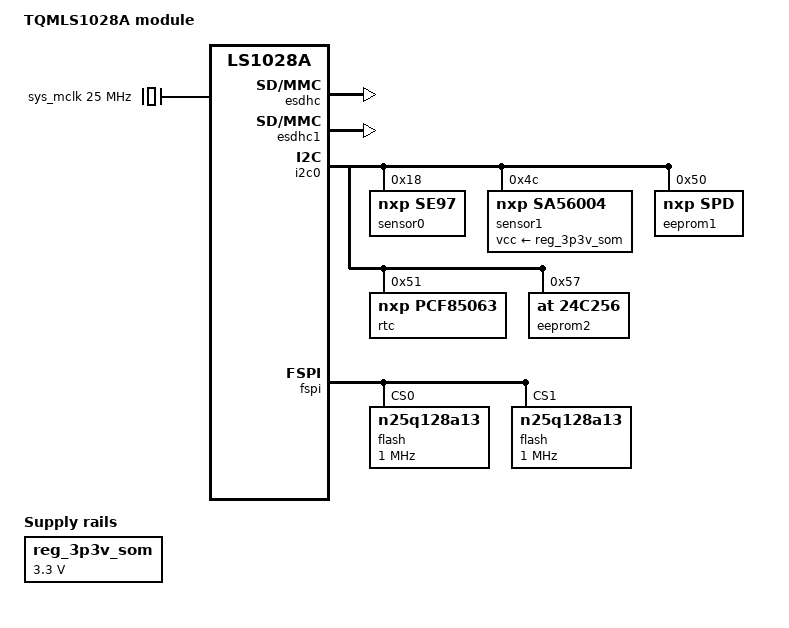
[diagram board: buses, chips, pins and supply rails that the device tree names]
/*
 * Device Tree Include file for NXP Layerscape-1028A family SoC.
 *
 * Copyright 2018-2019 NXP
 *
 * Harninder Rai <harninder.rai@nxp.com>
 *
 * This file is dual-licensed: you can use it either under the terms
 * of the GPLv2 or the X11 license, at your option. Note that this dual
 * licensing only applies to this file, and not this project as a
 * whole.
 *
 *  a) This library is free software; you can redistribute it and/or
 *     modify it under the terms of the GNU General Public License as
 *     published by the Free Software Foundation; either version 2 of the
 *     License, or (at your option) any later version.
 *
 *     This library is distributed in the hope that it will be useful,
 *     but WITHOUT ANY WARRANTY; without even the implied warranty of
 *     MERCHANTABILITY or FITNESS FOR A PARTICULAR PURPOSE.  See the
 *     GNU General Public License for more details.
 *
 * Or, alternatively,
 *
 *  b) Permission is hereby granted, free of charge, to any person
 *     obtaining a copy of this software and associated documentation
 *     files (the "Software"), to deal in the Software without
 *     restriction, including without limitation the rights to use,
 *     copy, modify, merge, publish, distribute, sublicense, and/or
 *     sell copies of the Software, and to permit persons to whom the
 *     Software is furnished to do so, subject to the following
 *     conditions:
 *
 *     The above copyright notice and this permission notice shall be
 *     included in all copies or substantial portions of the Software.
 *
 *     THE SOFTWARE IS PROVIDED "AS IS", WITHOUT WARRANTY OF ANY KIND,
 *     EXPRESS OR IMPLIED, INCLUDING BUT NOT LIMITED TO THE WARRANTIES
 *     OF MERCHANTABILITY, FITNESS FOR A PARTICULAR PURPOSE AND
 *     NONINFRINGEMENT. IN NO EVENT SHALL THE AUTHORS OR COPYRIGHT
 *     HOLDERS BE LIABLE FOR ANY CLAIM, DAMAGES OR OTHER LIABILITY,
 *     WHETHER IN AN ACTION OF CONTRACT, TORT OR OTHERWISE, ARISING
 *     FROM, OUT OF OR IN CONNECTION WITH THE SOFTWARE OR THE USE OR
 *     OTHER DEALINGS IN THE SOFTWARE.
 */

#include "../freescale/fsl-ls1028a.dtsi"

/ {
	model = "TQMLS1028A module";
	compatible = "tq,tqmls1028a", "fsl,ls1028a";

	regulators {
		compatible = "simple-bus";
		#address-cells = <1>;
		#size-cells = <0>;

		reg_3p3v_som: regulator@0 {
			compatible = "regulator-fixed";
			reg = <0>;
			regulator-name = "3P3V_SOM";
			regulator-min-microvolt = <3300000>;
			regulator-max-microvolt = <3300000>;
			regulator-always-on;
		};
	};

	sys_mclk: clock-mclk {
		compatible = "fixed-clock";
		#clock-cells = <0>;
		clock-frequency = <25000000>;
	};
};

&esdhc {
	status = "okay";
	sd-uhs-sdr104;
	sd-uhs-sdr50;
	sd-uhs-sdr25;
	sd-uhs-sdr12;
};

&esdhc1 {
	status = "okay";
	mmc-hs200-1_8v;
};

&i2c0 {
	status = "okay";

	/* NXP SE97BTP with temperature sensor + eeprom */
	sensor0: se97@18 {
		compatible = "nxp,se97", "jedec,jc-42.4-temp";
		reg = <0x18>;
		status = "okay";
	};

	sensor1: sa56004@4c {
		compatible = "nxp,sa56004";
		reg = <0x4c>;
		vcc-supply = <&reg_3p3v_som>;
		status = "okay";
	};

	/* NXP SE97BTP with temperature sensor + eeprom */
	eeprom1: se97@50 {
		compatible = "nxp,spd";
		reg = <0x50>;
		pagesize = <16>;
		status = "okay";
	};

	rtc: pcf85063@51 {
		compatible = "nxp,pcf85063";
		nxp,quartz_load = "12.5pF";
		nxp,offset = <0x80>;
		reg = <0x51>;
		status = "okay";
	};

	/* regular EEPROM */
	eeprom2: 24c256@57 {
		compatible = "at,24c256";
		pagesize = <32>;
		reg = <0x57>;
		status = "okay";
	};
};

&fspi {
	status = "okay";

	flash@0 {
		#address-cells = <1>;
		#size-cells = <1>;
		compatible = "n25q128a13", "jedec,spi-nor";  /* 16MB */
		reg = <0>;
		spi-max-frequency = <1000000>; /* input clock */
	};

	flash@1 {
		#address-cells = <1>;
		#size-cells = <1>;
		compatible = "n25q128a13", "jedec,spi-nor";  /* 16MB */
		reg = <1>;
		spi-max-frequency = <1000000>; /* input clock */
	};

};
